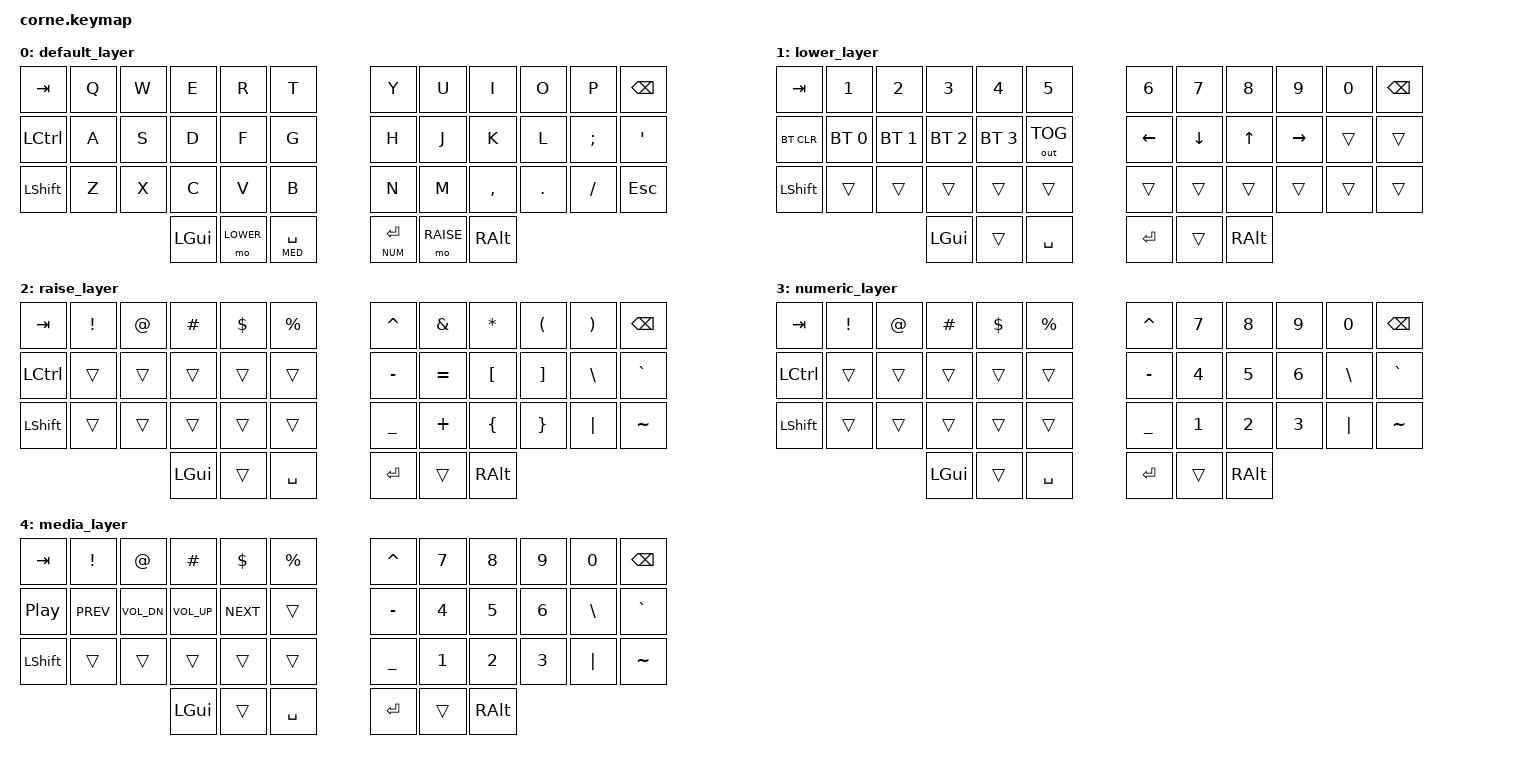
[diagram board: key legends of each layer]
/*
 * Copyright (c) 2020 The ZMK Contributors
 *
 * SPDX-License-Identifier: MIT
 */

#include <behaviors.dtsi>
#include <dt-bindings/zmk/keys.h>
#include <dt-bindings/zmk/bt.h>
#include <dt-bindings/zmk/outputs.h>

#define DEFAULT 0
#define LOWER   1
#define RAISE   2
#define NUM     3
#define MED     4

/ {
        keymap {
                compatible = "zmk,keymap";

                default_layer {
// -----------------------------------------------------------------------------------------
// |  TAB |  Q  |  W  |  E  |  R  |  T  |   |  Y  |  U   |  I  |  O  |  P  | BSPC |
// | CTRL |  A  |  S  |  D  |  F  |  G  |   |  H  |  J   |  K  |  L  |  ;  |  '   |
// | SHFT |  Z  |  X  |  C  |  V  |  B  |   |  N  |  M   |  ,  |  .  |  /  | ESC  |
//                    | GUI | LWR | SPC / MEDIA |   | ENT / NUM | RSE  | ALT |
                        bindings = <
   &kp TAB   &kp Q &kp W &kp E &kp R &kp T   &kp Y &kp U  &kp I     &kp O   &kp P    &kp BSPC
   &kp LCTRL &kp A &kp S &kp D &kp F &kp G   &kp H &kp J  &kp K     &kp L   &kp SEMI &kp SQT
   &kp LSHFT &kp Z &kp X &kp C &kp V &kp B   &kp N &kp M  &kp COMMA &kp DOT &kp FSLH &kp ESC
                  &kp LGUI &mo LOWER &lt MED SPACE   &lt NUM RET &mo RAISE &kp RALT
                        >;
                };
                
                lower_layer {
// -----------------------------------------------------------------------------------------
// |  TAB |  1  |  2  |  3  |  4  |    5    |   |  6  |  7  |  8  |  9  |  0  | BSPC |
// | BTCLR| BT1 | BT2 | BT3 | BT4 | OUT_TOG |   | LFT | DWN |  UP | RGT |     |      |
// | SHFT |     |     |     |     |         |   |     |     |     |     |     |      |
//                    | GUI |     | SPC     |   | ENT |     | ALT |
                        bindings = <
   &kp TAB    &kp N1       &kp N2       &kp N3       &kp N4       &kp N5         &kp N6   &kp N7   &kp N8 &kp N9    &kp N0 &kp BSPC
   &bt BT_CLR &bt BT_SEL 0 &bt BT_SEL 1 &bt BT_SEL 2 &bt BT_SEL 3 &out OUT_TOG   &kp LEFT &kp DOWN &kp UP &kp RIGHT &trans &trans
   &kp LSHFT  &trans       &trans       &trans       &trans       &trans         &trans   &trans   &trans &trans    &trans &trans
                                    &kp LGUI     &trans       &kp SPACE      &kp RET  &trans   &kp RALT
                        >;
                };

                raise_layer {
// -----------------------------------------------------------------------------------------
// |  TAB |  !  |  @  |  #  |  $  |  %  |   |  ^  |  &  |  *  |  (  |  )  | BSPC |
// | CTRL |     |     |     |     |     |   |  -  |  =  |  [  |  ]  |  \  |  `   |
// | SHFT |     |     |     |     |     |   |  _  |  +  |  {  |  }  | "|" |  ~   |
//                    | GUI |     | SPC |   | ENT |     | ALT |
                        bindings = <
   &kp  TAB  &kp EXCL &kp AT &kp HASH &kp DLLR &kp PRCNT   &kp CARET &kp AMPS  &kp ASTRK &kp LPAR &kp RPAR &kp BSPC
   &kp LCTRL &trans   &trans &trans   &trans   &trans      &kp MINUS &kp EQUAL &kp LBKT  &kp RBKT &kp BSLH &kp GRAVE
   &kp LSHFT &trans   &trans &trans   &trans   &trans      &kp UNDER &kp PLUS  &kp LBRC  &kp RBRC &kp PIPE &kp TILDE
                             &kp LGUI &trans   &kp SPACE   &kp RET   &trans    &kp RALT
                        >;
                };

                numeric_layer {
// -----------------------------------------------------------------------------------------
// |  TAB |  !  |  @  |  #  |  $  |  %  |   |  ^  |  7  |  8  |  9  |  0  | BSPC |
// | CTRL |     |     |     |     |     |   |  -  |  4  |  5  |  6  |  \  |  `   |
// | SHFT |     |     |     |     |     |   |  _  |  1  |  2  |  7  | "|" |  ~   |
//                    | GUI |     | SPC |   | ENT |     | ALT |
                        bindings = <
   &kp  TAB  &kp EXCL &kp AT &kp HASH &kp DLLR &kp PRCNT   &kp CARET &kp N7  &kp N8 &kp N9 &kp N0 &kp BSPC
   &kp LCTRL &trans   &trans &trans   &trans   &trans      &kp MINUS &kp N4 &kp N5  &kp N6 &kp BSLH &kp GRAVE
   &kp LSHFT &trans   &trans &trans   &trans   &trans      &kp UNDER &kp N1  &kp N2  &kp N3 &kp PIPE &kp TILDE
                             &kp LGUI &trans   &kp SPACE   &kp RET   &trans    &kp RALT
                        >;
                };


                media_layer {
// -----------------------------------------------------------------------------------------
// |  TAB |  !  |  @  |  #  |  $  |  %  |   |  ^  |  7  |  8  |  9  |  0  | BSPC |
// | CTRL |     |     |     |     |     |   |  -  |  4  |  5  |  6  |  \  |  `   |
// | SHFT |     |     |     |     |     |   |  _  |  1  |  2  |  7  | "|" |  ~   |
//                    | GUI |     | SPC |   | ENT |     | ALT |
                        bindings = <
   &kp  TAB  &kp EXCL &kp AT &kp HASH &kp DLLR &kp PRCNT   &kp CARET &kp N7  &kp N8 &kp N9 &kp N0 &kp BSPC
   &kp C_PLAY_PAUSE &kp C_PREV &kp C_VOL_DN &kp C_VOL_UP &kp C_NEXT   &trans      &kp MINUS &kp N4 &kp N5  &kp N6 &kp BSLH &kp GRAVE
   &kp LSHFT &trans   &trans &trans   &trans   &trans      &kp UNDER &kp N1  &kp N2  &kp N3 &kp PIPE &kp TILDE
                             &kp LGUI &trans   &kp SPACE   &kp RET   &trans    &kp RALT
                        >;
                };

                extra_3 {
                        status = "reserved";
                };
        };
};
